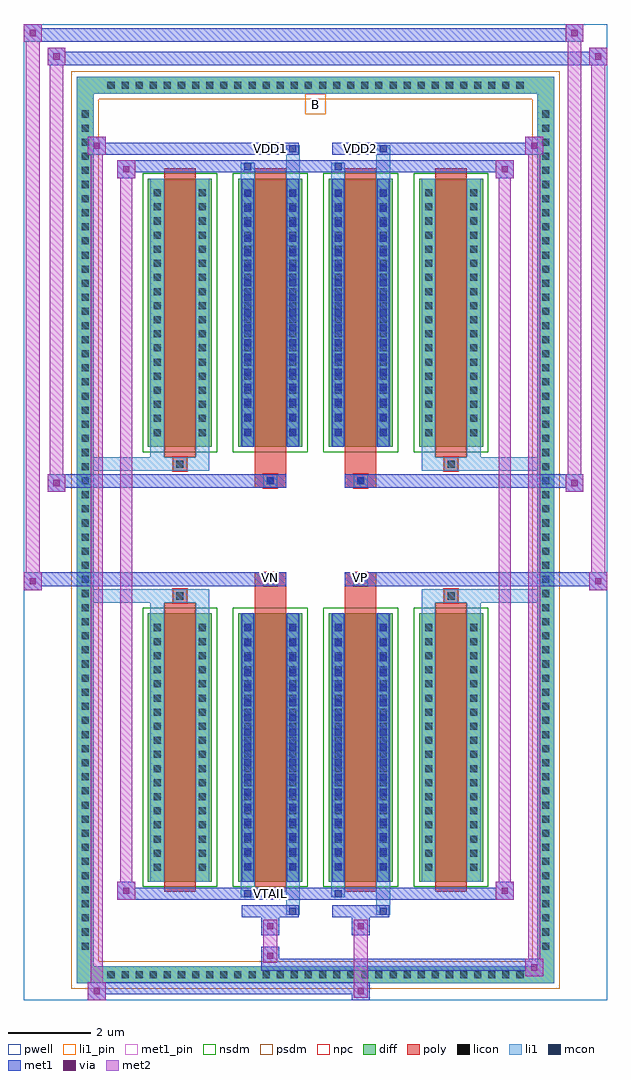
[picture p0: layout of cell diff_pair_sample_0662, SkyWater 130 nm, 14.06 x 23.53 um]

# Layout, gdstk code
import gdstk
lib = gdstk.Library(unit=1e-6, precision=5e-09)
def R(c, l, rs):  # rectangles x0, y0, x1, y1
    for r in rs: c.add(gdstk.rectangle(r[:2], r[2:], *l))
def A(c, l, x, y, w, h, nx, ny, dx, dy):  # array of equal rectangles
    R(c, l, [(x+i*dx, y+j*dy, x+i*dx+w, y+j*dy+h) for i in range(nx) for j in range(ny)])
def P(c, l, *ps):  # polygons
    for p in ps: c.add(gdstk.Polygon(p, *l))
pwell = (64, 44)
diff = (65, 20)
poly = (66, 20)
licon = (66, 44)
li1_pin = (67, 16)
li1 = (67, 20)
mcon = (67, 44)
met1_pin = (68, 16)
met1 = (68, 20)
via = (68, 44)
met2 = (69, 20)
nsdm = (93, 44)
psdm = (94, 20)
npc = (95, 20)

diff_pair_sample_0662 = lib.new_cell('diff_pair_sample_0662')
R(diff_pair_sample_0662, pwell, [(-7.03,-11.33,7.03,12.2), (-4.35,-9.52,-0.01,-0.82), (0.01,-9.52,4.35,-0.82), (-4.35,0.82,-0.01,9.52), (0.01,0.82,4.35,9.52)])
A(diff_pair_sample_0662, diff, -5.135, -10.93, 0.41, 0.41, 30, 2, 0.34, 21.45)
A(diff_pair_sample_0662, diff, -5.76, -10.235, 0.41, 0.41, 1, 60, 0, 0.34)
A(diff_pair_sample_0662, diff, 5.35, -10.235, 0.41, 0.41, 1, 60, 0, 0.34)
A(diff_pair_sample_0662, diff, -4.04, -8.475, 1.54, 6.47, 4, 2, 2.18, 10.48)
R(diff_pair_sample_0662, diff, [(-5.135,-10.93,5.135,-10.52), (-5.76,-10.235,-5.35,10.235), (5.35,-10.235,5.76,10.235), (-5.135,10.52,5.135,10.93)])
P(diff_pair_sample_0662, diff, [(5.76,10.93),(-5.76,10.93),(-5.76,-10.52),(-5.35,-10.52),(-5.35,10.52),(5.35,10.52),(5.35,-10.52),(-5.35,-10.52),(-5.76,-10.52),(-5.76,-10.93),(5.76,-10.93)])
A(diff_pair_sample_0662, poly, -3.65, -8.725, 0.76, 6.97, 4, 2, 2.18, 10.48)
R(diff_pair_sample_0662, poly, [(-3.435,-1.755,-3.105,-1.425), (-3.435,-1.755,-3.105,-1.425), (-1.47,-1.755,-0.71,-1.35), (0.71,-1.755,1.47,-1.35), (3.105,-1.755,3.435,-1.425), (3.105,-1.755,3.435,-1.425), (-1.47,-1.35,-0.71,-1.02), (-1.255,-1.35,-0.925,-1.02), (0.71,-1.35,1.47,-1.02), (0.925,-1.35,1.255,-1.02), (-1.47,1.02,-0.71,1.35), (-1.255,1.02,-0.925,1.35), (0.71,1.02,1.47,1.35), (0.925,1.02,1.255,1.35), (-1.47,1.35,-0.71,1.755), (0.71,1.35,1.47,1.755), (-3.435,1.425,-3.105,1.755), (-3.435,1.425,-3.105,1.755), (3.105,1.425,3.435,1.755), (3.105,1.425,3.435,1.755)])
A(diff_pair_sample_0662, licon, -5.015, -10.81, 0.17, 0.17, 30, 2, 0.34, 21.45)
A(diff_pair_sample_0662, licon, -5.64, -10.115, 0.17, 0.17, 1, 60, 0, 0.34)
A(diff_pair_sample_0662, licon, 5.47, -10.115, 0.17, 0.17, 1, 60, 0, 0.34)
A(diff_pair_sample_0662, licon, -3.9, -8.215, 0.17, 0.17, 8, 18, 1.09, 0.34)
A(diff_pair_sample_0662, licon, -3.9, 2.265, 0.17, 0.17, 8, 18, 1.09, 0.34)
R(diff_pair_sample_0662, licon, [(-3.355,-1.675,-3.185,-1.505), (3.185,-1.675,3.355,-1.505), (-1.175,-1.27,-1.005,-1.1), (1.005,-1.27,1.175,-1.1), (-1.175,1.1,-1.005,1.27), (1.005,1.1,1.175,1.27), (-3.355,1.505,-3.185,1.675), (3.185,1.505,3.355,1.675)])
R(diff_pair_sample_0662, li1_pin, [(-0.25,10.02,0.25,10.52)])
A(diff_pair_sample_0662, li1, -5.095, -10.89, 0.33, 0.33, 30, 2, 0.34, 21.45)
A(diff_pair_sample_0662, li1, -5.72, -10.195, 0.33, 0.33, 1, 60, 0, 0.34)
A(diff_pair_sample_0662, li1, 5.39, -10.195, 0.33, 0.33, 1, 60, 0, 0.34)
A(diff_pair_sample_0662, li1, -3.98, -8.475, 0.33, 6.47, 8, 2, 1.09, 10.48)
A(diff_pair_sample_0662, li1, -3.98, -8.295, 0.33, 0.33, 8, 18, 1.09, 0.34)
A(diff_pair_sample_0662, li1, -1.72, -8.205, 0.17, 0.17, 4, 17, 1.09, 0.36)
A(diff_pair_sample_0662, li1, -1.72, -8.205, 0.17, 5.93, 4, 2, 1.09, 10.48)
A(diff_pair_sample_0662, li1, -3.98, 2.185, 0.33, 0.33, 8, 18, 1.09, 0.34)
A(diff_pair_sample_0662, li1, -1.72, 2.275, 0.17, 0.17, 4, 17, 1.09, 0.36)
R(diff_pair_sample_0662, li1, [(-5.76,-10.93,-5.35,-10.52), (-5.76,-10.93,-5.35,-10.52), (-5.35,-10.93,5.35,-10.52), (5.35,-10.93,5.76,-10.52), (5.35,-10.93,5.76,-10.52), (-5.76,-10.52,-5.35,10.52), (5.35,-10.52,5.76,10.52), (-0.71,-9.28,-0.38,-8.475), (-0.63,-9.28,-0.46,-9.11), (1.47,-9.28,1.8,-8.475), (1.55,-9.28,1.72,-9.11), (-1.8,-8.85,-1.47,-8.475), (-1.72,-8.85,-1.55,-8.68), (0.38,-8.85,0.71,-8.475), (0.46,-8.85,0.63,-8.68), (-3.98,-2.005,-3.65,-1.425), (-2.89,-2.005,-2.56,-1.425), (2.56,-2.005,2.89,-1.425), (3.65,-2.005,3.98,-1.425), (-5.76,-1.755,-3.435,-1.425), (-3.98,-1.755,-3.435,-1.425), (-3.435,-1.755,-3.105,-1.425), (-3.105,-1.755,-2.56,-1.425), (2.56,-1.755,3.105,-1.425), (3.105,-1.755,3.435,-1.425), (3.105,-1.755,5.76,-1.425), (3.435,-1.755,3.98,-1.425), (-1.255,-1.35,-0.925,-1.02), (0.925,-1.35,1.255,-1.02), (-1.255,1.02,-0.925,1.35), (0.925,1.02,1.255,1.35), (-5.76,1.425,-3.435,1.755), (-3.98,1.425,-3.435,1.755), (-3.98,1.425,-3.65,2.005), (-3.435,1.425,-3.105,1.755), (-3.105,1.425,-2.56,1.755), (-2.89,1.425,-2.56,2.005), (2.56,1.425,3.105,1.755), (2.56,1.425,2.89,2.005), (3.105,1.425,3.435,1.755), (3.105,1.425,5.76,1.755), (3.435,1.425,3.98,1.755), (3.65,1.425,3.98,2.005), (-1.8,8.475,-1.47,8.85), (-0.71,8.475,-0.38,9.28), (0.38,8.475,0.71,8.85), (1.47,8.475,1.8,9.28), (-1.72,8.68,-1.55,8.85), (0.46,8.68,0.63,8.85), (-0.63,9.11,-0.46,9.28), (1.55,9.11,1.72,9.28), (-5.76,10.52,-5.35,10.93), (-5.76,10.52,-5.35,10.93), (-5.35,10.52,5.35,10.93), (5.35,10.52,5.76,10.93), (5.35,10.52,5.76,10.93)])
A(diff_pair_sample_0662, mcon, -1.72, -8.205, 0.17, 0.17, 4, 17, 1.09, 0.36)
A(diff_pair_sample_0662, mcon, -1.72, 2.275, 0.17, 0.17, 4, 17, 1.09, 0.36)
R(diff_pair_sample_0662, mcon, [(-0.63,-9.28,-0.46,-9.11), (1.55,-9.28,1.72,-9.11), (-1.72,-8.85,-1.55,-8.68), (0.46,-8.85,0.63,-8.68), (-1.175,-1.27,-1.005,-1.1), (1.005,-1.27,1.175,-1.1), (-1.175,1.1,-1.005,1.27), (1.005,1.1,1.175,1.27), (-1.72,8.68,-1.55,8.85), (0.46,8.68,0.63,8.85), (-0.63,9.11,-0.46,9.28), (1.55,9.11,1.72,9.28)])
R(diff_pair_sample_0662, met1_pin, [(-1.225,-8.89,-0.955,-8.62), (-1.225,-1.29,-0.955,-1.02), (0.955,-1.29,1.225,-1.02), (-1.225,9.07,-0.955,9.34), (0.955,9.07,1.225,9.34)])
A(diff_pair_sample_0662, met1, -1.78, -8.475, 0.29, 6.47, 4, 2, 1.09, 10.48)
A(diff_pair_sample_0662, met1, -1.78, -8.265, 0.29, 0.29, 4, 17, 1.09, 0.36)
A(diff_pair_sample_0662, met1, -1.78, 2.215, 0.29, 0.29, 4, 17, 1.09, 0.36)
R(diff_pair_sample_0662, met1, [(-5.49,-11.33,-5.06,-10.9), (0.875,-11.33,1.305,-10.9), (-5.49,-11.19,1.305,-10.9), (5.06,-10.76,5.49,-10.33), (-1.305,-10.62,5.49,-10.33), (-1.305,-10.48,-0.875,-10.05), (-1.305,-9.77,-0.875,-9.34), (0.875,-9.77,1.305,-9.34), (-1.78,-9.34,-0.4,-9.05), (-0.69,-9.34,-0.4,-9.05), (0.4,-9.34,1.78,-9.05), (1.49,-9.34,1.78,-9.05), (-4.78,-8.91,-4.35,-8.48), (-4.78,-8.91,-1.78,-8.62), (-1.78,-8.91,-1.49,-8.62), (-1.78,-8.91,-0.4,-8.62), (-0.4,-8.91,0.4,-8.62), (0.4,-8.91,0.69,-8.62), (0.4,-8.91,1.78,-8.62), (1.78,-8.91,4.78,-8.62), (4.35,-8.91,4.78,-8.48), (-7.03,-1.45,-6.6,-1.02), (6.6,-1.45,7.03,-1.02), (-7.03,-1.35,-0.71,-1.02), (-1.47,-1.35,-0.71,-1.02), (0.71,-1.35,1.47,-1.02), (0.71,-1.35,7.03,-1.02), (-1.235,-1.33,-0.945,-1.04), (0.945,-1.33,1.235,-1.04), (-6.46,0.92,-6.03,1.35), (6.03,0.92,6.46,1.35), (-6.46,1.02,-1.47,1.35), (-1.47,1.02,-0.71,1.35), (0.71,1.02,1.47,1.35), (1.47,1.02,6.46,1.35), (-1.235,1.04,-0.945,1.33), (0.945,1.04,1.235,1.33), (-4.78,8.48,-4.35,8.91), (4.35,8.48,4.78,8.91), (-4.78,8.62,-1.78,8.91), (-1.78,8.62,-1.49,8.91), (-1.78,8.62,-0.4,8.91), (-0.4,8.62,0.4,8.91), (0.4,8.62,0.69,8.91), (0.4,8.62,1.78,8.91), (1.78,8.62,4.78,8.91), (-5.49,9.05,-5.06,9.48), (-5.49,9.05,-1.78,9.34), (-1.78,9.05,-0.4,9.34), (-0.69,9.05,-0.4,9.34), (0.4,9.05,1.78,9.34), (1.49,9.05,1.78,9.34), (1.78,9.05,5.49,9.34), (5.06,9.05,5.49,9.48), (-6.46,11.2,-6.03,11.63), (-6.46,11.2,-4.35,11.53), (-4.35,11.2,4.35,11.53), (4.35,11.2,7.03,11.53), (6.6,11.2,7.03,11.63), (-7.03,11.77,-6.6,12.2), (-7.03,11.77,-4.35,12.1), (-4.35,11.77,4.35,12.1), (4.35,11.77,6.46,12.1), (6.03,11.77,6.46,12.2)])
R(diff_pair_sample_0662, via, [(-5.35,-11.19,-5.2,-11.04), (1.015,-11.19,1.165,-11.04), (5.2,-10.62,5.35,-10.47), (-1.165,-10.34,-1.015,-10.19), (-1.165,-9.63,-1.015,-9.48), (1.015,-9.63,1.165,-9.48), (-4.64,-8.77,-4.49,-8.62), (4.49,-8.77,4.64,-8.62), (-6.89,-1.31,-6.74,-1.16), (6.74,-1.31,6.89,-1.16), (-6.32,1.06,-6.17,1.21), (6.17,1.06,6.32,1.21), (-4.64,8.62,-4.49,8.77), (4.49,8.62,4.64,8.77), (-5.35,9.19,-5.2,9.34), (5.2,9.19,5.35,9.34), (-6.32,11.34,-6.17,11.49), (6.74,11.34,6.89,11.49), (-6.89,11.91,-6.74,12.06), (6.17,11.91,6.32,12.06)])
R(diff_pair_sample_0662, met2, [(-5.49,-11.33,-5.06,-10.9), (-5.42,-11.33,-5.13,9.48), (-5.13,-11.33,-5.06,-10.9), (-5.44,-11.28,-5.11,-10.95), (0.925,-11.28,1.255,-10.95), (0.925,-10.95,1.255,-9.72), (5.06,-10.76,5.49,-10.33), (5.13,-10.76,5.42,9.48), (5.42,-10.76,5.49,-10.33), (5.11,-10.71,5.44,-10.38), (-1.255,-10.43,-0.925,-10.1), (-1.255,-10.1,-0.925,-9.72), (-1.255,-9.72,-0.925,-9.39), (0.925,-9.72,1.255,-9.39), (-4.78,-8.91,-4.35,-8.48), (-4.71,-8.91,-4.42,8.91), (-4.42,-8.91,-4.35,-8.48), (4.35,-8.91,4.78,-8.48), (4.42,-8.91,4.71,8.91), (4.71,-8.91,4.78,-8.48), (-4.73,-8.86,-4.4,-8.53), (4.4,-8.86,4.73,-8.53), (-7.03,-1.45,-6.6,-1.02), (-6.98,-1.45,-6.65,12.2), (-6.65,-1.45,-6.6,-1.02), (6.6,-1.45,7.03,-1.02), (6.65,-1.45,6.98,11.63), (6.98,-1.45,7.03,-1.02), (-6.98,-1.4,-6.65,-1.07), (6.65,-1.4,6.98,-1.07), (-6.46,0.92,-6.03,1.35), (-6.41,0.92,-6.08,11.63), (-6.08,0.92,-6.03,1.35), (6.03,0.92,6.46,1.35), (6.08,0.92,6.41,12.2), (6.41,0.92,6.46,1.35), (-6.41,0.97,-6.08,1.3), (6.08,0.97,6.41,1.3), (-4.78,8.48,-4.35,8.91), (-4.42,8.48,-4.35,8.91), (4.35,8.48,4.78,8.91), (4.71,8.48,4.78,8.91), (-4.73,8.53,-4.4,8.86), (4.4,8.53,4.73,8.86), (-5.49,9.05,-5.06,9.48), (-5.13,9.05,-5.06,9.48), (5.06,9.05,5.49,9.48), (5.42,9.05,5.49,9.48), (-5.44,9.1,-5.11,9.43), (5.11,9.1,5.44,9.43), (-6.46,11.2,-6.03,11.63), (-6.08,11.2,-6.03,11.63), (6.6,11.2,7.03,11.63), (6.98,11.2,7.03,11.63), (-6.41,11.25,-6.08,11.58), (6.65,11.25,6.98,11.58), (-7.03,11.77,-6.6,12.2), (-6.65,11.77,-6.6,12.2), (6.03,11.77,6.46,12.2), (6.41,11.77,6.46,12.2), (-6.98,11.82,-6.65,12.15), (6.08,11.82,6.41,12.15)])
A(diff_pair_sample_0662, nsdm, -4.17, -8.605, 1.8, 6.73, 4, 2, 2.18, 10.48)
P(diff_pair_sample_0662, psdm, [(5.89,11.06),(-5.89,11.06),(-5.89,-10.39),(-5.22,-10.39),(-5.22,10.39),(5.22,10.39),(5.22,-10.39),(-5.22,-10.39),(-5.89,-10.39),(-5.89,-11.06),(5.89,-11.06)])
R(diff_pair_sample_0662, npc, [(-3.455,-1.775,-3.085,-1.405), (3.085,-1.775,3.455,-1.405), (-1.275,-1.37,-0.905,-1), (0.905,-1.37,1.275,-1), (-1.275,1,-0.905,1.37), (0.905,1,1.275,1.37), (-3.455,1.405,-3.085,1.775), (3.085,1.405,3.455,1.775)])
diff_pair_sample_0662.add(gdstk.Label('VTAIL', (-1.09,-8.755), layer=68, texttype=5))
diff_pair_sample_0662.add(gdstk.Label('VN', (-1.09,-1.155), layer=68, texttype=5))
diff_pair_sample_0662.add(gdstk.Label('VP', (1.09,-1.155), layer=68, texttype=5))
diff_pair_sample_0662.add(gdstk.Label('B', (0,10.27), layer=67, texttype=5))
diff_pair_sample_0662.add(gdstk.Label('VDD2', (1.09,9.205), layer=68, texttype=5))
diff_pair_sample_0662.add(gdstk.Label('VDD1', (-1.09,9.205), layer=68, texttype=5))

lib.write_gds('diff_pair_sample_0662.gds')
